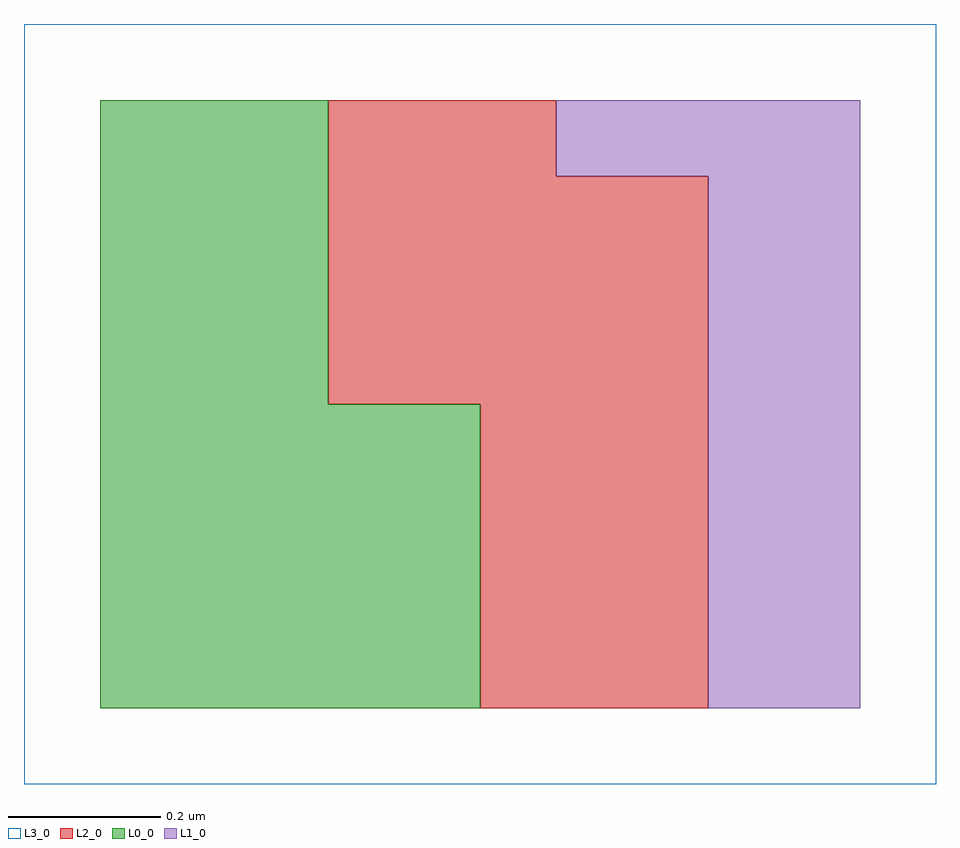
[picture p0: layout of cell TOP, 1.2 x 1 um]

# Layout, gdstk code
import gdstk
lib = gdstk.Library(unit=1e-6, precision=1e-09)
def R(c, l, rs):  # rectangles x0, y0, x1, y1
    for r in rs: c.add(gdstk.rectangle(r[:2], r[2:], *l))
def P(c, l, *ps):  # polygons
    for p in ps: c.add(gdstk.Polygon(p, *l))
L0_0 = (0, 0)
L1_0 = (1, 0)
L2_0 = (2, 0)
L3_0 = (3, 0)

top = lib.new_cell('TOP')
P(top, L0_0, [(-0.6,-0.2),(-0.6,0.6),(-0.3,0.6),(-0.3,0.2),(-0.1,0.2),(-0.1,-0.2)])
R(top, L1_0, [(0.2,-0.2,0.4,0.6), (0,0.5,0.2,0.6)])
R(top, L2_0, [(-0.1,-0.2,0.2,0.5), (-0.3,0.2,0,0.6)])
R(top, L3_0, [(-0.7,-0.3,0.5,0.7)])

lib.write_gds('TOP.gds')
